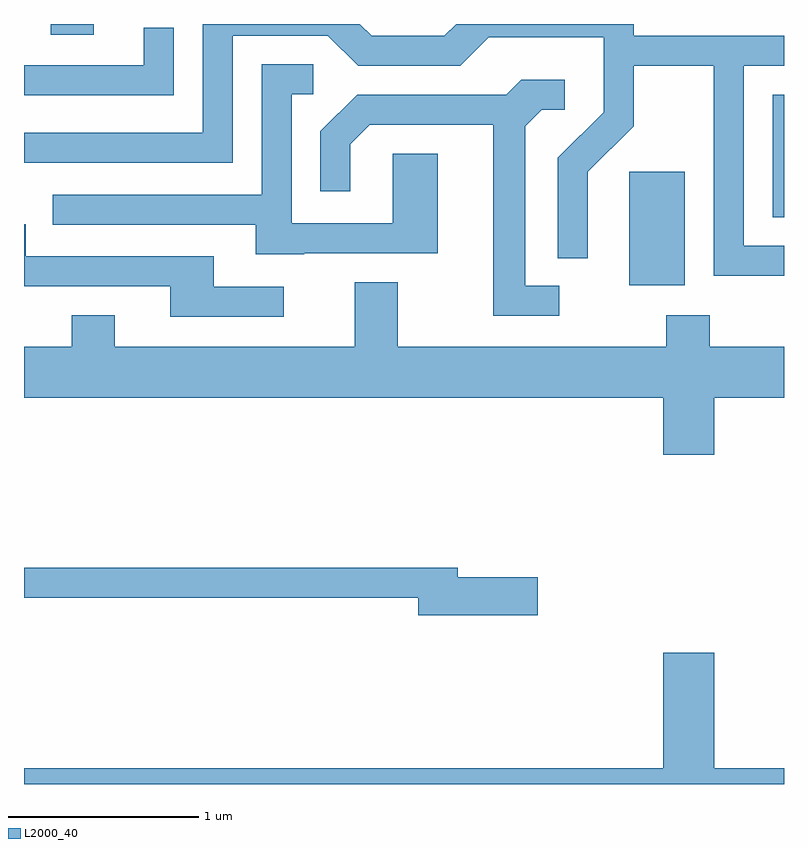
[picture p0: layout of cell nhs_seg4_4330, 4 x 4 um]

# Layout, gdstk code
import gdstk
lib = gdstk.Library(unit=1e-6, precision=1e-09)
def R(c, l, rs):  # rectangles x0, y0, x1, y1
    for r in rs: c.add(gdstk.rectangle(r[:2], r[2:], *l))
def P(c, l, *ps):  # polygons
    for p in ps: c.add(gdstk.Polygon(p, *l))
L2000_40 = (2000, 40)

nhs_seg4_4330 = lib.new_cell('nhs_seg4_4330')
R(nhs_seg4_4330, L2000_40, [(314.796,1348.606,315.089,1349.204), (315.551,1348.966,315.611,1349.609), (311.751,1349.926,311.979,1349.982)])
P(nhs_seg4_4330, L2000_40, [(315.611,1348.814),(315.399,1348.814),(315.399,1349.761),(315.611,1349.761),(315.611,1349.919),(314.819,1349.919),(314.819,1349.982),(313.887,1349.982),(313.824,1349.919),(313.442,1349.919),(313.379,1349.982),(312.551,1349.982),(312.551,1349.409),(311.611,1349.409),(311.611,1349.251),(312.709,1349.251),(312.709,1349.921),(313.209,1349.921),(313.369,1349.761),(313.907,1349.761),(314.057,1349.911),(314.661,1349.911),(314.661,1349.517),(314.421,1349.277),(314.421,1348.748),(314.579,1348.748),(314.579,1349.204),(314.819,1349.444),(314.819,1349.761),(315.241,1349.761),(315.241,1348.656),(315.611,1348.656)],
  [(312.399,1349.963),(312.241,1349.963),(312.241,1349.764),(311.611,1349.764),(311.611,1349.606),(312.399,1349.606)],
  [(313.085,1348.776),(313.789,1348.776),(313.789,1349.299),(313.551,1349.299),(313.551,1348.934),(313.019,1348.934),(313.019,1349.611),(313.133,1349.611),(313.133,1349.769),(312.861,1349.769),(312.861,1349.084),(311.763,1349.084),(311.763,1348.926),(312.831,1348.926),(312.831,1348.771),(313.085,1348.771)],
  [(314.428,1348.604),(314.249,1348.604),(314.249,1349.444),(314.337,1349.531),(314.458,1349.531),(314.458,1349.689),(314.229,1349.689),(314.149,1349.609),(313.364,1349.609),(313.171,1349.417),(313.171,1349.103),(313.329,1349.103),(313.329,1349.349),(313.432,1349.451),(314.081,1349.451),(314.081,1348.446),(314.428,1348.446)],
  [(312.978,1348.599),(312.609,1348.599),(312.609,1348.759),(311.619,1348.759),(311.619,1348.929),(311.611,1348.929),(311.611,1348.601),(312.381,1348.601),(312.381,1348.441),(312.978,1348.441)],
  [(315.244,1348.016),(315.611,1348.016),(315.611,1348.284),(315.219,1348.284),(315.219,1348.449),(314.991,1348.449),(314.991,1348.284),(313.579,1348.284),(313.579,1348.624),(313.351,1348.624),(313.351,1348.284),(312.089,1348.284),(312.089,1348.449),(311.861,1348.449),(311.861,1348.284),(311.611,1348.284),(311.611,1348.016),(314.976,1348.016),(314.976,1347.716),(315.244,1347.716)],
  [(314.314,1347.069),(313.894,1347.069),(313.894,1347.119),(311.611,1347.119),(311.611,1346.961),(313.686,1346.961),(313.686,1346.871),(314.314,1346.871)],
  [(315.611,1346.064),(315.244,1346.064),(315.244,1346.674),(314.976,1346.674),(314.976,1346.064),(311.611,1346.064),(311.611,1345.982),(315.611,1345.982)])

lib.write_gds('nhs_seg4_4330.gds')
